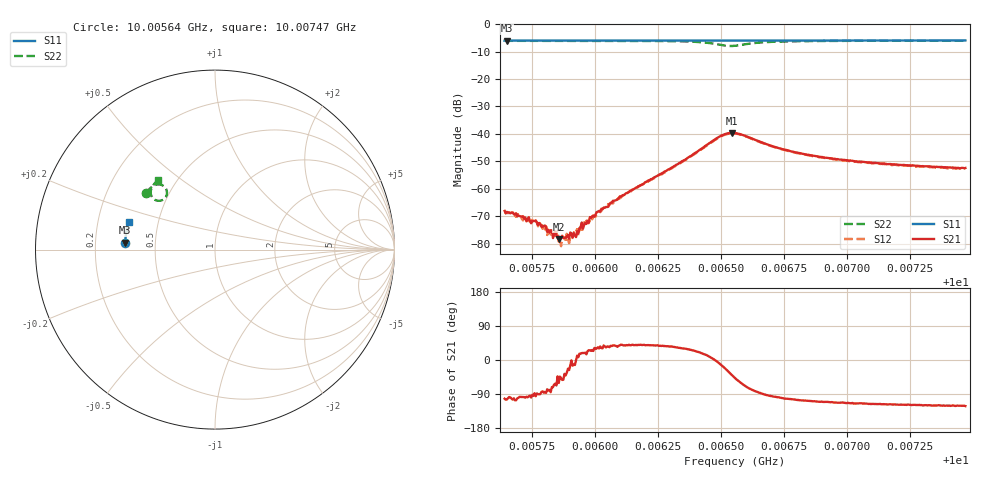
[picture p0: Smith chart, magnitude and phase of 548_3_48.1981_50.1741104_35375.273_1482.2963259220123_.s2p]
#  HZ  S  RI  R  50.00
! Rohde & Schwarz Vector Network Analyzer
! Rohde-Schwarz,ZNB20-2Port,1311601062101988,3.16
! Created: UTC 3/20/2024, 12:00:40 PM
! freq[Hz]  re:S11  im:S11  re:S21  im:S21  re:S12  im:S12  re:S22  im:S22
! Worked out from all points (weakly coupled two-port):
!   401 points, 10.00564 GHz to 10.00747 GHz, reference 50 ohm
!   highest |S21| = -39.63 dB at 10.00654 GHz (marker M1); lowest = -78.3 dB at 10.00586 GHz (marker M2)
!   lowest |S11| = -6.0 dB at 10.00565 GHz (marker M3), VSWR 3.01, Z = 16.6 + j1.71 ohm
!   |S11| at or under -10 dB: nowhere
!   |S22| runs from -8.0 to -6.0 dB; largest |S21 - S12| = 0.00067
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1.000564e10  -0.5001 0.0381  -8.31e-05 -0.000384  -4.38e-05 -0.000405  -0.3849 0.3146
1.0005649e10  -0.4998 0.0386  -9.16e-05 -0.000366  -8.06e-05 -0.000362  -0.3844 0.3151
1.0005759e10  -0.4998 0.0458  1.03e-05 -0.000257  6.71e-06 -0.000251  -0.3791 0.3217
1.0005787e10  -0.4995 0.0476  2.06e-05 -0.000199  2.01e-05 -0.000227  -0.3779 0.3234
1.0005819e10  -0.4994 0.0497  3.1e-05 -0.000157  6.82e-05 -0.000152  -0.3762 0.3254
1.0005842e10  -0.4993 0.0513  7.72e-05 -0.000148  7.17e-05 -0.000117  -0.375 0.3268
1.0005855e10  -0.4992 0.0522  5.97e-05 -0.000106  5.84e-05 -9.14e-05  -0.3743 0.3275
1.0005864e10  -0.4992 0.0527  8.85e-05 -9.65e-05  7.2e-05 -5.33e-05  -0.3738 0.3283
1.0005901e10  -0.499 0.0551  0.000154 -4.01e-05  0.000125 -4.1e-05  -0.3718 0.3306
1.0005924e10  -0.4987 0.0564  0.000131 -5.34e-07  0.000163 -6.32e-06  -0.3705 0.332
1.0005942e10  -0.4988 0.0577  0.000192 5.69e-05  0.000193 3.38e-05  -0.3693 0.3333
1.0005947e10  -0.4987 0.058  0.00023 7.64e-05  0.000156 3.35e-05  -0.369 0.3334
1.0006015e10  -0.4984 0.0624  0.000339 0.0002  0.000313 0.000218  -0.3647 0.3381
1.0006056e10  -0.4981 0.065  0.000439 0.000294  0.000399 0.000312  -0.3618 0.3409
1.0006253e10  -0.4965 0.0779  0.00143 0.00109  0.00136 0.00114  -0.3426 0.3557
1.0006491e10  -0.4937 0.0932  0.0087 -0.00124  0.00852 -0.000741  -0.2691 0.329
1.0006541e10  -0.4931 0.0956  0.00812 -0.00657  0.0083 -0.00597  -0.2836 0.2824
1.0006555e10  -0.493 0.0964  0.00697 -0.00765  0.00725 -0.00708  -0.2961 0.275
1.0006733e10  -0.4919 0.1077  -0.000871 -0.00537  -0.000625 -0.00529  -0.3582 0.3223
1.0006861e10  -0.4904 0.1161  -0.0013 -0.00383  -0.00109 -0.0038  -0.3527 0.3437
1.0007168e10  -0.486 0.1355  -0.00126 -0.00251  -0.00114 -0.00252  -0.3354 0.3697
1.000747e10  -0.4811 0.1544  -0.00125 -0.00204  -0.00109 -0.00203  -0.3192 0.3867
